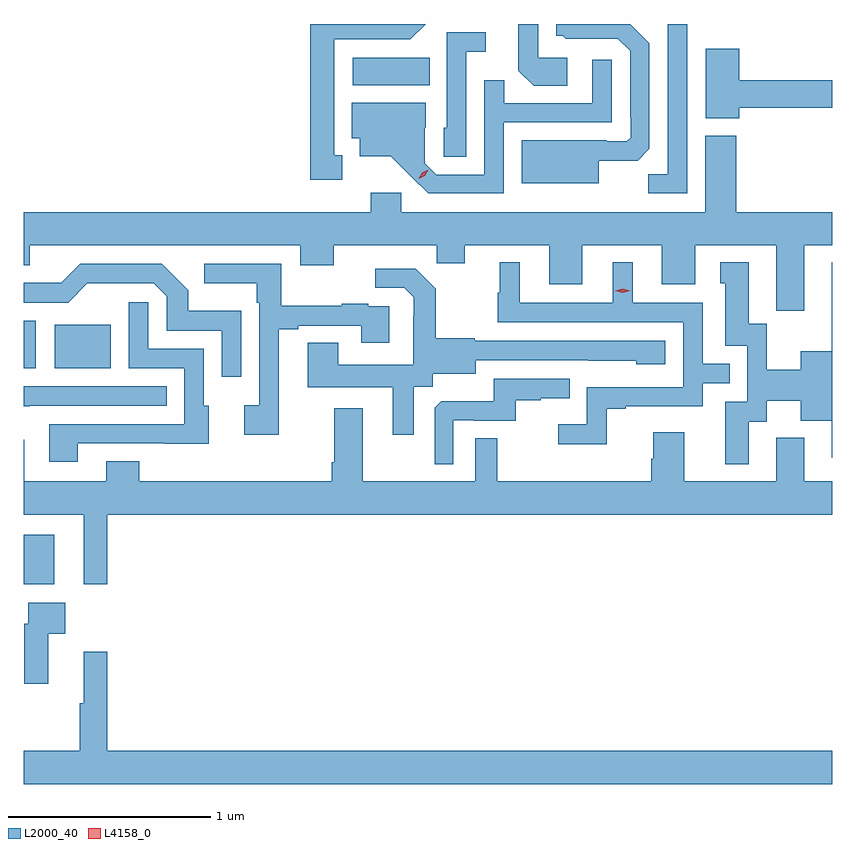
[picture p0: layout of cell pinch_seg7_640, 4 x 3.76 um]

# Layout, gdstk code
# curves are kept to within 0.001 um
import gdstk
lib = gdstk.Library(unit=1e-6, precision=1e-09)
def R(c, l, rs):  # rectangles x0, y0, x1, y1
    for r in rs: c.add(gdstk.rectangle(r[:2], r[2:], *l))
def P(c, l, *ps):  # polygons
    for p in ps: c.add(gdstk.Polygon(p, *l))
L2000_40 = (2000, 40)
L4158_0 = (4158, 0)

pinch_seg7_640 = lib.new_cell('pinch_seg7_640')
R(pinch_seg7_640, L2000_40, [(156.838,1002.935,156.991,1003.18), (156.838,1004.003,156.898,1004.239), (156.992,1004.003,157.27,1004.218), (158.466,1005.404,158.846,1005.538)])
P(pinch_seg7_640, L2000_40, [(159.526,1005.54),(159.384,1005.54),(159.384,1005.706),(159.285,1005.706),(159.285,1005.476),(159.361,1005.4),(159.526,1005.4)],
  [(160.119,1005.706),(160.023,1005.706),(160.023,1004.963),(159.928,1004.963),(159.928,1004.868),(160.119,1004.868)],
  [(159.682,1005.029),(159.874,1005.029),(159.933,1005.088),(159.933,1005.61),(159.838,1005.706),(159.473,1005.706),(159.473,1005.648),(159.504,1005.648),(159.52,1005.632),(159.777,1005.633),(159.837,1005.573),(159.837,1005.244),(159.84,1005.244),(159.84,1005.144),(159.822,1005.126),(159.722,1005.126),(159.722,1005.13),(159.302,1005.13),(159.302,1004.918),(159.682,1004.918)],
  [(158.413,1005.057),(158.374,1005.057),(158.374,1005.63),(158.751,1005.63),(158.827,1005.706),(158.256,1005.706),(158.256,1004.937),(158.413,1004.937)],
  [(159.027,1005.569),(159.124,1005.569),(159.124,1005.666),(158.931,1005.666),(158.931,1005.192),(158.916,1005.192),(158.916,1005.049),(159.027,1005.049)],
  [(160.378,1005.292),(160.838,1005.292),(160.838,1005.428),(160.378,1005.428),(160.378,1005.583),(160.211,1005.583),(160.211,1005.239),(160.378,1005.239)],
  [(159.213,1005.219),(159.747,1005.219),(159.747,1005.529),(159.651,1005.529),(159.651,1005.315),(159.215,1005.315),(159.215,1005.428),(159.117,1005.428),(159.117,1004.961),(158.88,1004.961),(158.823,1005.018),(158.823,1005.192),(158.827,1005.192),(158.827,1005.316),(158.462,1005.316),(158.462,1005.14),(158.501,1005.14),(158.501,1005.053),(158.653,1005.053),(158.84,1004.868),(159.213,1004.868)],
  [(160.699,1004.612),(160.838,1004.612),(160.838,1004.776),(160.361,1004.776),(160.361,1005.154),(160.208,1005.154),(160.208,1004.776),(158.706,1004.776),(158.706,1004.872),(158.555,1004.872),(158.555,1004.776),(156.838,1004.776),(156.838,1004.514),(156.868,1004.514),(156.868,1004.612),(158.207,1004.612),(158.207,1004.513),(158.371,1004.513),(158.371,1004.612),(158.881,1004.612),(158.881,1004.522),(159.019,1004.522),(159.019,1004.612),(159.437,1004.612),(159.437,1004.418),(159.601,1004.418),(159.601,1004.612),(159.995,1004.612),(159.995,1004.418),(160.159,1004.418),(160.159,1004.612),(160.559,1004.612),(160.559,1004.401),(160.56,1004.401),(160.56,1004.289),(160.699,1004.289)],
  [(159.723,1003.803),(159.817,1003.803),(159.817,1003.815),(160.197,1003.815),(160.197,1003.929),(160.331,1003.929),(160.331,1004.025),(160.197,1004.025),(160.197,1004.328),(159.85,1004.328),(159.85,1004.527),(159.752,1004.527),(159.752,1004.328),(159.292,1004.328),(159.292,1004.527),(159.194,1004.527),(159.194,1004.376),(159.183,1004.376),(159.183,1004.232),(160.101,1004.232),(160.101,1003.911),(159.624,1003.911),(159.624,1003.726),(159.483,1003.726),(159.483,1003.628),(159.723,1003.628)],
  [(160.423,1003.738),(160.513,1003.738),(160.513,1003.844),(160.682,1003.844),(160.682,1003.745),(160.835,1003.745),(160.835,1003.56),(160.838,1003.56),(160.838,1004.527),(160.835,1004.527),(160.835,1004.089),(160.682,1004.089),(160.682,1003.996),(160.512,1003.996),(160.512,1004.223),(160.423,1004.223),(160.423,1004.527),(160.283,1004.527),(160.283,1004.424),(160.307,1004.424),(160.307,1004.115),(160.416,1004.115),(160.416,1003.839),(160.307,1003.839),(160.307,1003.53),(160.423,1003.53)],
  [(157.914,1004.287),(157.653,1004.287),(157.653,1004.39),(157.522,1004.52),(157.119,1004.52),(157.025,1004.426),(156.838,1004.426),(156.838,1004.328),(157.059,1004.328),(157.154,1004.423),(157.482,1004.424),(157.545,1004.361),(157.545,1004.19),(157.818,1004.19),(157.818,1003.962),(157.914,1003.962)],
  [(158.101,1004.196),(158.197,1004.196),(158.197,1004.214),(158.507,1004.214),(158.507,1004.13),(158.647,1004.13),(158.647,1004.31),(158.543,1004.31),(158.543,1004.323),(158.411,1004.323),(158.411,1004.312),(158.113,1004.312),(158.113,1004.52),(157.731,1004.52),(157.731,1004.423),(157.992,1004.423),(157.992,1004.327),(158.004,1004.327),(158.004,1003.822),(157.929,1003.822),(157.929,1003.674),(158.101,1003.674)],
  [(158.767,1003.912),(158.862,1003.912),(158.862,1003.976),(159.073,1003.976),(159.073,1004.043),(159.867,1004.042),(159.867,1004.024),(160.012,1004.024),(160.012,1004.139),(159.069,1004.139),(159.069,1004.152),(158.877,1004.152),(158.877,1004.397),(158.777,1004.497),(158.577,1004.497),(158.577,1004.403),(158.721,1004.403),(158.768,1004.356),(158.768,1004.261),(158.766,1004.261),(158.766,1004.02),(158.395,1004.02),(158.395,1004.129),(158.243,1004.129),(158.243,1003.91),(158.663,1003.91),(158.663,1003.674),(158.767,1003.674)],
  [(157.105,1003.632),(157.535,1003.632),(157.535,1003.631),(157.753,1003.631),(157.753,1003.818),(157.728,1003.818),(157.728,1004.1),(157.455,1004.1),(157.455,1004.329),(157.359,1004.329),(157.359,1004.004),(157.632,1004.004),(157.632,1003.728),(156.965,1003.728),(156.965,1003.542),(157.105,1003.542)],
  [(158.964,1003.746),(159.064,1003.746),(159.064,1003.743),(159.272,1003.743),(159.272,1003.845),(159.395,1003.845),(159.395,1003.856),(159.539,1003.856),(159.539,1003.953),(159.162,1003.953),(159.162,1003.841),(158.903,1003.841),(158.871,1003.809),(158.871,1003.529),(158.964,1003.529)],
  [(156.869,1003.818),(157.547,1003.818),(157.547,1003.914),(156.838,1003.914),(156.838,1003.817),(156.869,1003.817)],
  [(157.253,1003.28),(160.838,1003.28),(160.838,1003.444),(160.699,1003.444),(160.699,1003.66),(160.559,1003.66),(160.559,1003.444),(160.105,1003.444),(160.105,1003.687),(159.953,1003.687),(159.953,1003.557),(159.941,1003.557),(159.941,1003.444),(159.181,1003.444),(159.181,1003.658),(159.072,1003.658),(159.072,1003.444),(158.515,1003.444),(158.515,1003.807),(158.375,1003.807),(158.375,1003.54),(158.363,1003.54),(158.363,1003.444),(157.411,1003.444),(157.411,1003.543),(157.247,1003.543),(157.247,1003.444),(156.841,1003.444),(156.841,1003.651),(156.838,1003.651),(156.838,1003.28),(157.136,1003.28),(157.136,1002.936),(157.253,1002.936)],
  [(156.959,1002.692),(157.045,1002.692),(157.045,1002.844),(156.861,1002.844),(156.861,1002.74),(156.841,1002.74),(156.841,1002.444),(156.959,1002.444)],
  [(160.838,1002.112),(157.253,1002.112),(157.253,1002.601),(157.136,1002.601),(157.136,1002.348),(157.117,1002.348),(157.117,1002.112),(156.838,1002.112),(156.838,1001.948),(160.838,1001.948)])
P(pinch_seg7_640, L4158_0, [(158.792,1004.94),(158.792,1004.94),(158.809,1004.97),(158.839,1004.986),(158.84,1004.986),(158.84,1004.985),(158.823,1004.955),(158.792,1004.94)],
  [(159.801,1004.378),(159.765,1004.387),(159.765,1004.388),(159.765,1004.388),(159.801,1004.398),(159.837,1004.388),(159.837,1004.388),(159.837,1004.387)])

lib.write_gds('pinch_seg7_640.gds')
